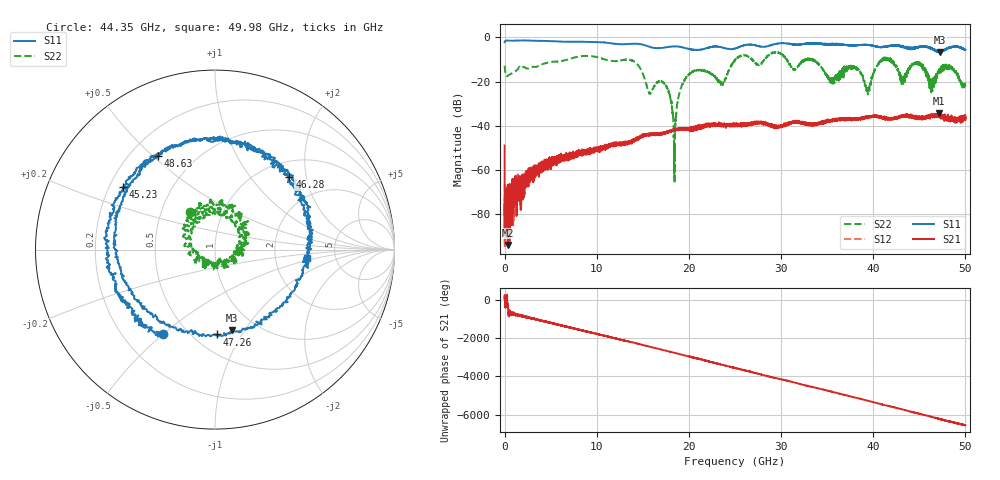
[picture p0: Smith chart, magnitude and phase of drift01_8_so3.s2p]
!Created with skrf (http://scikit-rf.org).
# Hz S RI R 50.0
!freq ReS11 ImS11 ReS21 ImS21 ReS12 ImS12 ReS22 ImS22
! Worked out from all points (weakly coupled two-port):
!   10001 points, 300 kHz to 50 GHz, reference 50 ohm
!   highest |S21| = -34.38 dB at 47.09 GHz (marker M1); lowest = -94.0 dB at 345.3 MHz (marker M2)
!   lowest |S11| = -6.7 dB at 47.2 GHz (marker M3), VSWR 2.70, Z = 38.4 - j43.9 ohm
!   |S11| at or under -10 dB: nowhere
!   |S22| runs from -66.2 to -6.6 dB; largest |S21 - S12| = 0.0043
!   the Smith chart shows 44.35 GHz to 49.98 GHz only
!   S11 on the Smith chart (normalised r, x): 44.35 GHz: 0.37, -0.50; 45.23 GHz: 0.26, +0.29; 46.28 GHz: 1.31, +1.60; 47.26 GHz: 0.65, -0.79; 48.63 GHz: 0.31, +0.52; 49.98 GHz: 3.07, -0.41
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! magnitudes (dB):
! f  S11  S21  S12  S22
! 300 kHz  -2.2  -49.0  -66.4  -12.8
! 345.3 MHz  -1.4  -94.0  -73.9  -17.4
! 8.335 GHz  -1.9  -51.7  -52.6  -8.5
! 16.67 GHz  -4.9  -43.8  -43.8  -19.9
! 17.74 GHz  -4.4  -42.9  -42.8  -23.7
! 18.43 GHz  -4.1  -42.0  -42.1  -58.7
! 19.9 GHz  -5.1  -41.6  -41.4  -17.1
! 23.6 GHz  -4.5  -39.4  -40.0  -20.5
! 25 GHz  -5.0  -40.0  -39.9  -10.4
! 33.34 GHz  -2.6  -39.8  -39.3  -10.1
! 39.37 GHz  -3.4  -35.9  -36.1  -23.5
! 41.67 GHz  -3.9  -36.5  -36.9  -9.8
! 43.18 GHz  -4.2  -35.4  -35.6  -18.6
! 44.35 GHz  -5.2  -35.8  -36.1  -12.0
! 45.23 GHz  -4.2  -36.2  -36.4  -12.0
! 46.28 GHz  -4.7  -34.8  -35.4  -22.4
! 47.09 GHz  -6.3  -34.4  -35.3  -17.0
! 47.2 GHz  -6.7  -35.7  -35.8  -14.3
! 47.26 GHz  -6.5  -36.3  -35.3  -16.1
! 48.63 GHz  -4.3  -37.2  -36.8  -14.8
! 49.98 GHz  -5.7  -36.8  -35.6  -21.2
! 50 GHz  -5.6  -37.2  -36.1  -21.7
